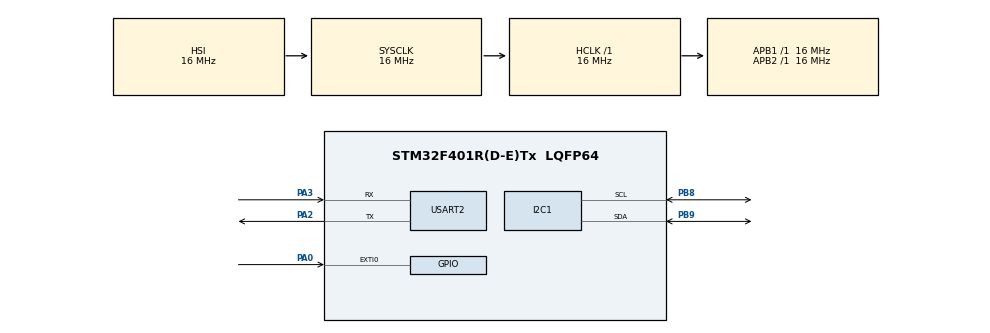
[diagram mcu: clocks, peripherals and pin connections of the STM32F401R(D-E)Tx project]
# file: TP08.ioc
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I2C1.I2C_Mode=I2C_Fast
Mcu.Family=STM32F4
Mcu.Name=STM32F401R(D-E)Tx
Mcu.Package=LQFP64
NVIC.EXTI0_IRQn=true\:6\:0\:true\:false\:true\:true\:true\:true
NVIC.PriorityGroup=NVIC_PRIORITYGROUP_4
PA0-WKUP.Signal=GPXTI0
PA2.Mode=Asynchronous
PA2.Signal=USART2_TX
PA3.Mode=Asynchronous
PA3.Signal=USART2_RX
PB8.GPIO_Pu=GPIO_PULLUP
PB8.Mode=I2C
PB8.Signal=I2C1_SCL
PB9.GPIO_Pu=GPIO_PULLUP
PB9.Mode=I2C
PB9.Signal=I2C1_SDA
ProjectManager.HeapSize=0x200
ProjectManager.StackSize=0x400
ProjectManager.TargetToolchain=STM32CubeIDE
RCC.AHBFreq_Value=16000000
RCC.APB1Freq_Value=16000000
RCC.APB2Freq_Value=16000000
RCC.CortexFreq_Value=16000000
RCC.HSE_VALUE=25000000
RCC.HSI_VALUE=16000000
RCC.LSE_VALUE=32768
RCC.SYSCLKFreq_VALUE=16000000
RCC.VCOOutputFreq_Value=192000000
RTC.WakeUpCounter=20430
USART2.VirtualMode=VM_ASYNC
VP_RTC_VS_RTC_Activate.Mode=RTC_Enabled
VP_RTC_VS_RTC_WakeUp_intern.Mode=WakeUp
board=custom

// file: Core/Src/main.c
/* USER CODE BEGIN Header */
/**
  ******************************************************************************
  * @file           : main.c
  * @brief          : Main program body
  ******************************************************************************
  * @attention
  *
  * Copyright (c) 2022 STMicroelectronics.
  * All rights reserved.
  *
  * This software is licensed under terms that can be found in the LICENSE file
  * in the root directory of this software component.
  * If no LICENSE file comes with this software, it is provided AS-IS.
  *
  * Made by Ruff Guillaume
  * 		Humbert Celian
  * 		Cloarec Florian
  *
  *
  ******************************************************************************
  */
/* USER CODE END Header */
#include "main.h"

/* USER CODE BEGIN PTD */
uint8_t data;
uint8_t buf[12];
float temp_c;
int16_t val;
static const uint8_t REG_TEMP = 0b00000101;
/* USER CODE END PTD */

 I2C_HandleTypeDef hi2c1;

RTC_HandleTypeDef hrtc;

UART_HandleTypeDef huart2;

void SystemClock_Config(void);
static void MX_GPIO_Init(void);
static void MX_I2C1_Init(void);
static void MX_USART2_UART_Init(void);
static void MX_RTC_Init(void);

int main(void)
{
  /* USER CODE BEGIN 1 */
	HAL_StatusTypeDef ret;

	//HAL_I2C_Mem_Read (, 0b011000, uint16_t MemAddress, I2C_MEMADD_SIZE_16BIT,&dato,1,5);
	//HAL_I2C_Master_Receive (&hi2c1, 0b011000, &buffer, strlen(buffer), 900);
	//HAL_I2C_Master_Transmit (&hi2c1, 0b011000, &buffer,strlen(buffer),  900);

  /* USER CODE END 1 */

  /* MCU Configuration--------------------------------------------------------*/

  /* Reset of all peripherals, Initializes the Flash interface and the Systick. */
  HAL_Init();

  /* USER CODE BEGIN Init */

  /*i2c_start(); // send START command
  i2c_write (0b011000 & 0xFE); //WRITE Command (see Section 4.1.4 “Address Byte�?)
  //also, make sure bit 0 is cleared ‘0’
  i2c_write(0x05); // Write TA Register Address
  i2c_start(); //Repeat START
  i2c_write(0b011000 | 0x01); // READ Command (see Section 4.1.4 “Address Byte�?)
  //also, make sure bit 0 is Set ‘1’
  UpperByte = i2c_read(ACK); // READ 8 bits
  //and Send ACK bit
  LowerByte = i2c_read(NAK); // READ 8 bits
  //and Send NAK bit
  i2c_stop();*/

  /* USER CODE END Init */

  /* Configure the system clock */
  SystemClock_Config();

  /* Initialize all configured peripherals */
  MX_GPIO_Init();
  MX_I2C1_Init();
  MX_USART2_UART_Init();
  MX_RTC_Init();
  /* USER CODE BEGIN 2 */

  uint8_t config_adress = 1;
  uint8_t HYSTERESIS_1_5C[2];
  HYSTERESIS_1_5C[0] = 1 << 9;

  uint8_t alert[2];
  uint8_t alert1[2];
  uint8_t alert2[2];

/*configuration des alertes*/
  alert[0]=1<<3; //activation du Alert Output Control bit
  alert1[0]=1<<0; //Alert Output Polarity bit mis a 0 car resistance de rapelle
  alert2[0]=0<<1; //Alert Output Mode bit mis en mode Interrupt output

  HAL_StatusTypeDef st = HAL_I2C_Mem_Write(&hi2c1, 0b011000<<1, config_adress, 1, &HYSTERESIS_1_5C, 1, HAL_MAX_DELAY);

  HAL_I2C_Mem_Write(&hi2c1, 0b011000<<1, 0b1000, 1, 0b01 , 1, HAL_MAX_DELAY);   //écriture sur le registre de résolution (0b1000) afin de régler la résolution a 0.25°C (0b01)

   HAL_I2C_Mem_Write(&hi2c1, 0b011000<<1, config_adress, 1, &HYSTERESIS_1_5C, 1, HAL_MAX_DELAY);	//écriture dans le registre de configuration pour régler l'hystéresis a +1.5°C (placement d'un 1 sur le bit 9 du registre)

   HAL_I2C_Mem_Write(&hi2c1, 0b011000<<1, 0b00000010, 1, 0b0000000111100000, 1, HAL_MAX_DELAY);	//définition de la borne température "haute" à 30 degrés

   HAL_I2C_Mem_Write(&hi2c1, 0b011000<<1, 0b00000011, 1, 0b0000000110000000, 1, HAL_MAX_DELAY); //défition de la borne de température basse à 24 degrés

   HAL_I2C_Mem_Write(&hi2c1, 0b011000<<1, 0b00000100, 1, 0b0000001010000000, 1, HAL_MAX_DELAY);  //définition de la bone de température critique à 40 degrés

   //écritures sur le registre de configuration pour configurer les paramettres des alertes

   HAL_I2C_Mem_Write(&hi2c1, 0b011000<<1, 0b00000001, 1, &alert, 1, HAL_MAX_DELAY);

   HAL_I2C_Mem_Write(&hi2c1, 0b011000<<1, 0b00000001, 1, &alert1, 1, HAL_MAX_DELAY);

  HAL_I2C_Mem_Write(&hi2c1, 0b011000<<1, 0b00000001, 1, &alert2, 1, HAL_MAX_DELAY);

  /* USER CODE END 2 */

  /* Infinite loop */
  /* USER CODE BEGIN WHILE */
  while (1)
  {
	  /*Deep sleep mode*/
	  /* Clear the WU FLAG */
	  //__HAL_PWR_CLEAR_FLAG(PWR_FLAG_WU);

	   /* clear the RTC Wake UP (WU) flag */
	 // __HAL_RTC_WAKEUPTIMER_CLEAR_FLAG(&hrtc, RTC_FLAG_WUTF);

	   /* Enable the WAKEUP PIN */
	//  HAL_PWR_EnableWakeUpPin(PWR_WAKEUP_PIN1);

	 // HAL_PWR_EnterSTANDBYMode();

	  __WFI(); //endormissement du coeur qui sera reveiller a la prochaine interruption (le timer)
	  HAL_Delay (10000); //fonction de la hal utilisant Systick pour attendre n milliseconde, les mesures et envoies de températures se font donc toutes les 10 secondes

	  uint8_t data[2];

	  HAL_I2C_Mem_Read(&hi2c1, 0b011000<<1, 0b00000101, 1, data, 2, HAL_MAX_DELAY);  //Lecture de la temperature

	  			//conversion et formatage de la donnée récupérée
	  uint8_t UpperByte = data[0];
	  uint8_t LowerByte = data[1];

	  			//basé sur l'exemple fournis dans la documentation du capteur
	  float temp = (UpperByte & 0b00001111);
	  temp = (UpperByte*16+LowerByte/16);

	  		if ((UpperByte & 0x80) == 0x80){ //TA ³ TCRIT
	  				}
	  				if ((UpperByte & 0x40) == 0x40){ //TA > TUPPER
	  				}
	  				if ((UpperByte & 0x20) == 0x20){ //TA < TLOWER
	  				}
	  				UpperByte = UpperByte & 0x1F; //Clear flag bits
	  				if ((UpperByte & 0x10) == 0x10){ //TA < 0°C
	  				UpperByte = UpperByte & 0x0F; //Clear SIGN
	  				temp = 256 - (UpperByte * 16 + LowerByte / 16);
	  				}else //TA ³ 0°C
	  					temp = (UpperByte * 16 + (float)LowerByte / 16);

	  	uint8_t buff[30];

	  	//affichage de la température
	  	uint16_t size = sprintf(&buff,"temperature = %f \n\r", temp);
	  	HAL_UART_Transmit(&huart2, &buff, size, HAL_MAX_DELAY);

    /* USER CODE END WHILE */

  }
}

void SystemClock_Config(void)
{
  RCC_OscInitTypeDef RCC_OscInitStruct = {0};
  RCC_ClkInitTypeDef RCC_ClkInitStruct = {0};

  /** Configure the main internal regulator output voltage
  */
  __HAL_RCC_PWR_CLK_ENABLE();
  __HAL_PWR_VOLTAGESCALING_CONFIG(PWR_REGULATOR_VOLTAGE_SCALE2);

  /** Initializes the RCC Oscillators according to the specified parameters
  * in the RCC_OscInitTypeDef structure.
  */
  RCC_OscInitStruct.OscillatorType = RCC_OSCILLATORTYPE_HSI|RCC_OSCILLATORTYPE_LSI;
  RCC_OscInitStruct.HSIState = RCC_HSI_ON;
  RCC_OscInitStruct.HSICalibrationValue = RCC_HSICALIBRATION_DEFAULT;
  RCC_OscInitStruct.LSIState = RCC_LSI_ON;
  RCC_OscInitStruct.PLL.PLLState = RCC_PLL_NONE;
  if (HAL_RCC_OscConfig(&RCC_OscInitStruct) != HAL_OK)
  {
    Error_Handler();
  }

  /** Initializes the CPU, AHB and APB buses clocks
  */
  RCC_ClkInitStruct.ClockType = RCC_CLOCKTYPE_HCLK|RCC_CLOCKTYPE_SYSCLK
                              |RCC_CLOCKTYPE_PCLK1|RCC_CLOCKTYPE_PCLK2;
  RCC_ClkInitStruct.SYSCLKSource = RCC_SYSCLKSOURCE_HSI;
  RCC_ClkInitStruct.AHBCLKDivider = RCC_SYSCLK_DIV1;
  RCC_ClkInitStruct.APB1CLKDivider = RCC_HCLK_DIV1;
  RCC_ClkInitStruct.APB2CLKDivider = RCC_HCLK_DIV1;

  if (HAL_RCC_ClockConfig(&RCC_ClkInitStruct, FLASH_LATENCY_0) != HAL_OK)
  {
    Error_Handler();
  }
}

static void MX_I2C1_Init(void)
{

  hi2c1.Instance = I2C1;
  hi2c1.Init.ClockSpeed = 400000;
  hi2c1.Init.DutyCycle = I2C_DUTYCYCLE_2;
  hi2c1.Init.OwnAddress1 = 0;
  hi2c1.Init.AddressingMode = I2C_ADDRESSINGMODE_7BIT;
  hi2c1.Init.DualAddressMode = I2C_DUALADDRESS_DISABLE;
  hi2c1.Init.OwnAddress2 = 0;
  hi2c1.Init.GeneralCallMode = I2C_GENERALCALL_DISABLE;
  hi2c1.Init.NoStretchMode = I2C_NOSTRETCH_DISABLE;
  if (HAL_I2C_Init(&hi2c1) != HAL_OK)
  {
    Error_Handler();
  }

}

static void MX_RTC_Init(void)
{

  RTC_TimeTypeDef sTime = {0};
  RTC_DateTypeDef sDate = {0};

  /** Initialize RTC Only
  */
  hrtc.Instance = RTC;
  hrtc.Init.HourFormat = RTC_HOURFORMAT_24;
  hrtc.Init.AsynchPrediv = 127;
  hrtc.Init.SynchPrediv = 255;
  hrtc.Init.OutPut = RTC_OUTPUT_DISABLE;
  hrtc.Init.OutPutPolarity = RTC_OUTPUT_POLARITY_HIGH;
  hrtc.Init.OutPutType = RTC_OUTPUT_TYPE_OPENDRAIN;
  if (HAL_RTC_Init(&hrtc) != HAL_OK)
  {
    Error_Handler();
  }

  /** Initialize RTC and set the Time and Date
  */
  sTime.Hours = 0x0;
  sTime.Minutes = 0x0;
  sTime.Seconds = 0x0;
  sTime.DayLightSaving = RTC_DAYLIGHTSAVING_NONE;
  sTime.StoreOperation = RTC_STOREOPERATION_RESET;
  if (HAL_RTC_SetTime(&hrtc, &sTime, RTC_FORMAT_BCD) != HAL_OK)
  {
    Error_Handler();
  }
  sDate.WeekDay = RTC_WEEKDAY_MONDAY;
  sDate.Month = RTC_MONTH_JANUARY;
  sDate.Date = 0x1;
  sDate.Year = 0x0;

  if (HAL_RTC_SetDate(&hrtc, &sDate, RTC_FORMAT_BCD) != HAL_OK)
  {
    Error_Handler();
  }

  /** Enable the WakeUp
  */
  if (HAL_RTCEx_SetWakeUpTimer(&hrtc, 20430, RTC_WAKEUPCLOCK_RTCCLK_DIV16) != HAL_OK)
  {
    Error_Handler();
  }

}

static void MX_USART2_UART_Init(void)
{

  huart2.Instance = USART2;
  huart2.Init.BaudRate = 115200;
  huart2.Init.WordLength = UART_WORDLENGTH_8B;
  huart2.Init.StopBits = UART_STOPBITS_1;
  huart2.Init.Parity = UART_PARITY_NONE;
  huart2.Init.Mode = UART_MODE_TX_RX;
  huart2.Init.HwFlowCtl = UART_HWCONTROL_NONE;
  huart2.Init.OverSampling = UART_OVERSAMPLING_16;
  if (HAL_UART_Init(&huart2) != HAL_OK)
  {
    Error_Handler();
  }

}

static void MX_GPIO_Init(void)
{
  GPIO_InitTypeDef GPIO_InitStruct = {0};

  /* GPIO Ports Clock Enable */
  __HAL_RCC_GPIOA_CLK_ENABLE();
  __HAL_RCC_GPIOB_CLK_ENABLE();

  /*Configure GPIO pin : PA0 */
  GPIO_InitStruct.Pin = GPIO_PIN_0;
  GPIO_InitStruct.Mode = GPIO_MODE_IT_RISING;
  GPIO_InitStruct.Pull = GPIO_NOPULL;
  HAL_GPIO_Init(GPIOA, &GPIO_InitStruct);

  /* EXTI interrupt init*/
  HAL_NVIC_SetPriority(EXTI0_IRQn, 6, 0);
  HAL_NVIC_EnableIRQ(EXTI0_IRQn);

}

/* USER CODE BEGIN 4 */

/*traitement de l'interruption générer par les alertes*/
/*Lors des tests je ne suis malheureusement pas parvenu a entrer des l'interruption en faisant*/
/* varier la temperature, mais en manipulant les branchement du montage, l'interruption fonctionnait bien*/
/*il s'agit surement d'un problème de configuration des alertes, que je n'ai pas reussi a résoudre*/

void HAL_GPIO_EXTI_Callback(uint16_t GPIO_Pin)
{
  if(GPIO_Pin == GPIO_PIN_0)
  {
	uint8_t buff[50];
	uint16_t size = sprintf(&buff,"limite de temperature depassee\n\r");
	HAL_UART_Transmit(&huart2, &buff, size, HAL_MAX_DELAY);
  }
}
/* USER CODE END 4 */

void Error_Handler(void)
{
  __disable_irq();
  while (1)
  {
  }
}
